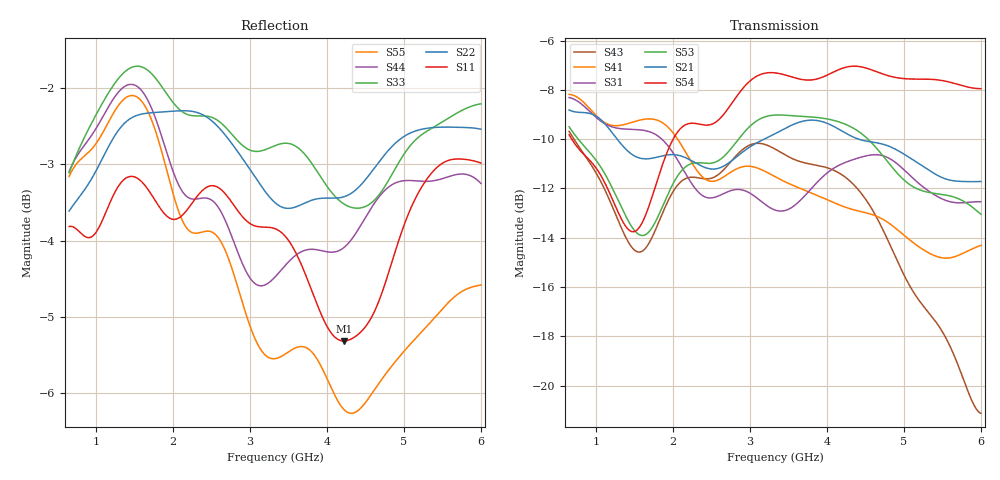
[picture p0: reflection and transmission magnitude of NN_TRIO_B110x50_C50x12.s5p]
! IGNION VIRTUAL ANTENNA LIBRARY
! NN_TRIO_B110x50_C50x12
! Virtual Antenna™ TRIO mXTEND™: NN03-310 30.0mm x 3.0mm x 1.0mm
! https://ignion.io/product/trio-mxtend/
! Board: 110mm x 50mm
! Clearance Area: 50mm x 12mm
! Feeding line: straight line; 9mm x 1mm
! Applications: Smartphone, Fleet management, IoT
! Frequency range 0.65GHz to 6GHz, step ~5MHz
! Number of ports 5
! This product and its use are protected by at least one or more of the following patents and
! patent applications PAT. US 2020/0176855 A1; WO 2019/008171 A1; and other domestic and international
! patents pending. Additional information about patents related to this product is available at
! https://ignion.io/files/Patent-list-NN.pdf, all rights reserved. Copyright, Ignion 2021.
! Need more help? Your platform is much different than these examples in the manual? Use our
! Fast Track service (https://ignion.io/fast-track/), for free, and get a personalized antenna design in
! just 24 hours.
! Touchstone port 1 = CST MWS port 1 ("Series Feeding Port 1")
! Touchstone port 2 = CST MWS port 2 ("Series in-Trio Port 1")
! Touchstone port 3 = CST MWS port 3 ("Series in-Trio Port 2")
! Touchstone port 4 = CST MWS port 4 ("Series Port in Feeding line of Port 2")
! Touchstone port 5 = CST MWS port 5 ("Series Feeding Port 2")
! CST MICROWAVE STUDIO 2019
# GHz S MA R 50
! Nport = 5
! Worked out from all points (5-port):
!   1001 points, 650 MHz to 6 GHz, reference 50 ohm
!   strongest paths, dB at 650 MHz, 1.988 GHz, 3.325 GHz, 4.662 GHz, 6 GHz:
!     S54: -9.8, -10.1, -7.3, -7.3, -7.9
!     S21: -8.8, -10.6, -9.8, -10.2, -11.7
!     S53: -9.5, -11.9, -9.0, -10.4, -13.0
!     S31: -8.3, -10.5, -12.9, -10.6, -12.5
!     S41: -8.2, -9.7, -11.5, -13.2, -14.3
!     S43: -9.7, -12.2, -10.4, -13.3, -21.1
!   lowest |S11| = -5.3 dB at 4.218 GHz (marker M1), VSWR 3.37, Z = 132 - j65.2 ohm
!   |S11| at or under -10 dB: nowhere
